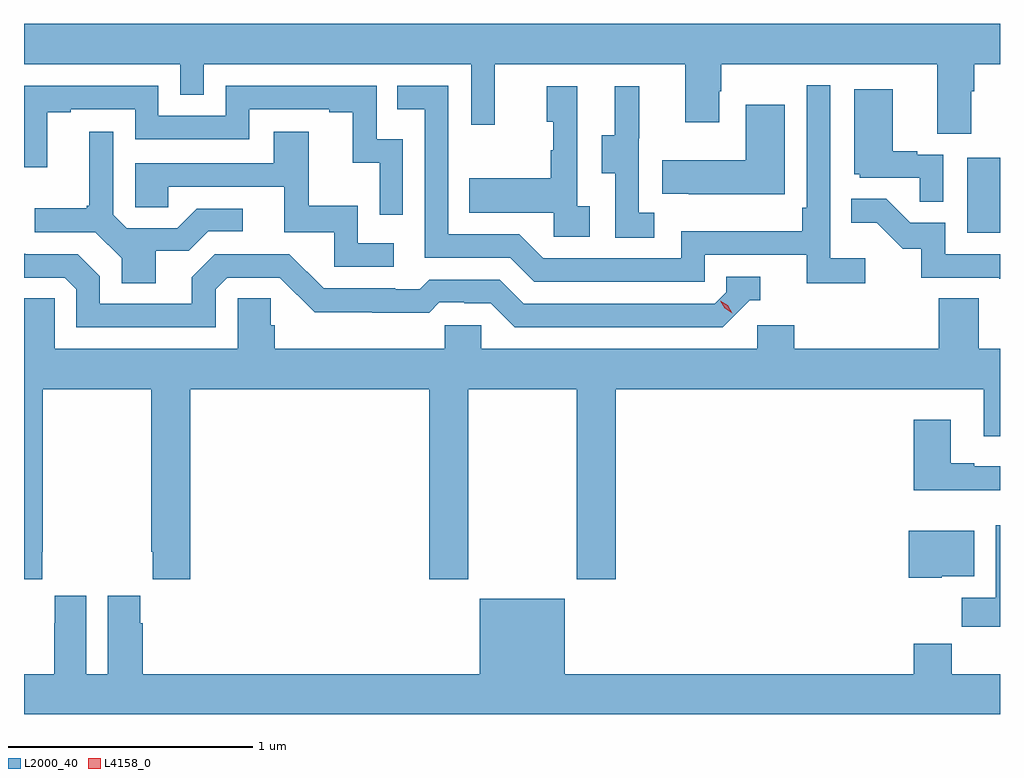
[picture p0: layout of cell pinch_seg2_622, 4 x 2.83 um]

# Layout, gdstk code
import gdstk
lib = gdstk.Library(unit=1e-6, precision=1e-09)
def R(c, l, rs):  # rectangles x0, y0, x1, y1
    for r in rs: c.add(gdstk.rectangle(r[:2], r[2:], *l))
def P(c, l, *ps):  # polygons
    for p in ps: c.add(gdstk.Polygon(p, *l))
L2000_40 = (2000, 40)
L4158_0 = (4158, 0)

pinch_seg2_622 = lib.new_cell('pinch_seg2_622')
R(pinch_seg2_622, L2000_40, [(1035.38,602.988,1035.515,603.295)])
P(pinch_seg2_622, L2000_40, [(1031.515,603.68),(1032.156,603.68),(1032.156,603.553),(1032.252,603.553),(1032.252,603.68),(1033.347,603.68),(1033.347,603.432),(1033.445,603.432),(1033.445,603.68),(1034.225,603.68),(1034.225,603.441),(1034.365,603.441),(1034.365,603.569),(1034.373,603.569),(1034.373,603.68),(1035.257,603.68),(1035.257,603.394),(1035.397,603.394),(1035.397,603.568),(1035.41,603.568),(1035.41,603.68),(1035.515,603.68),(1035.515,603.844),(1031.515,603.844)],
  [(1034.962,602.884),(1034.82,602.884),(1034.82,603.592),(1034.724,603.592),(1034.724,603.091),(1034.704,603.091),(1034.704,602.995),(1034.208,602.995),(1034.208,602.883),(1033.644,602.883),(1033.545,602.982),(1033.254,602.982),(1033.254,603.591),(1033.045,603.591),(1033.045,603.495),(1033.158,603.495),(1033.158,602.886),(1033.508,602.886),(1033.607,602.787),(1034.304,602.787),(1034.304,602.898),(1034.723,602.898),(1034.723,602.782),(1034.962,602.782)],
  [(1033.068,603.372),(1032.96,603.372),(1032.96,603.591),(1032.342,603.591),(1032.342,603.468),(1032.066,603.468),(1032.066,603.591),(1031.515,603.591),(1031.515,603.257),(1031.611,603.257),(1031.611,603.483),(1031.707,603.483),(1031.707,603.495),(1031.97,603.495),(1031.97,603.372),(1032.438,603.372),(1032.438,603.495),(1032.767,603.495),(1032.767,603.483),(1032.863,603.483),(1032.863,603.275),(1032.972,603.275),(1032.972,603.063),(1033.068,603.063)],
  [(1034.098,603.071),(1034.034,603.071),(1034.034,603.375),(1034.036,603.375),(1034.036,603.589),(1033.937,603.589),(1033.937,603.387),(1033.883,603.387),(1033.883,603.232),(1033.938,603.232),(1033.938,602.968),(1034.098,602.968)],
  [(1033.834,603.098),(1033.782,603.098),(1033.782,603.589),(1033.658,603.589),(1033.658,603.444),(1033.684,603.444),(1033.684,603.326),(1033.674,603.326),(1033.674,603.211),(1033.339,603.211),(1033.339,603.071),(1033.686,603.071),(1033.686,602.973),(1033.834,602.973)],
  [(1035.282,603.309),(1035.176,603.309),(1035.176,603.322),(1035.076,603.322),(1035.076,603.577),(1034.918,603.577),(1034.918,603.228),(1034.94,603.228),(1034.94,603.213),(1035.187,603.213),(1035.187,603.115),(1035.282,603.115)],
  [(1034.632,603.514),(1034.474,603.514),(1034.474,603.286),(1034.131,603.286),(1034.131,603.149),(1034.239,603.149),(1034.239,603.146),(1034.632,603.146)],
  [(1032.055,602.914),(1032.19,602.914),(1032.27,602.994),(1032.412,602.994),(1032.412,603.087),(1032.224,603.087),(1032.143,603.006),(1031.937,603.006),(1031.88,603.063),(1031.88,603.403),(1031.783,603.403),(1031.783,603.1),(1031.772,603.1),(1031.772,603.088),(1031.559,603.088),(1031.559,602.991),(1031.808,602.991),(1031.915,602.884),(1031.915,602.782),(1032.055,602.782)],
  [(1033.03,602.946),(1032.882,602.946),(1032.882,603.1),(1032.683,603.1),(1032.683,603.403),(1032.539,603.403),(1032.539,603.273),(1031.97,603.273),(1031.97,603.093),(1032.107,603.093),(1032.107,603.177),(1032.581,603.177),(1032.581,602.991),(1032.786,602.991),(1032.786,602.85),(1033.03,602.85)],
  [(1035.515,602.901),(1035.291,602.901),(1035.291,603.03),(1035.147,603.03),(1035.049,603.128),(1034.905,603.128),(1034.905,603.029),(1035.009,603.029),(1035.116,602.922),(1035.193,602.922),(1035.193,602.805),(1035.511,602.805),(1035.511,602.8),(1035.515,602.8)],
  [(1032.3,602.757),(1032.348,602.805),(1032.564,602.805),(1032.706,602.663),(1032.942,602.663),(1032.942,602.661),(1033.175,602.661),(1033.217,602.703),(1033.32,602.703),(1033.32,602.7),(1033.427,602.7),(1033.526,602.601),(1034.379,602.601),(1034.49,602.712),(1034.533,602.712),(1034.533,602.808),(1034.394,602.808),(1034.394,602.745),(1034.346,602.697),(1033.563,602.697),(1033.464,602.796),(1033.175,602.796),(1033.136,602.757),(1033.037,602.757),(1033.037,602.76),(1032.744,602.76),(1032.603,602.901),(1032.297,602.901),(1032.203,602.807),(1032.203,602.697),(1031.826,602.697),(1031.826,602.811),(1031.736,602.901),(1031.52,602.901),(1031.52,602.903),(1031.515,602.903),(1031.515,602.805),(1031.682,602.805),(1031.73,602.757),(1031.73,602.601),(1032.3,602.601)],
  [(1031.589,601.681),(1031.592,601.681),(1031.592,602.348),(1032.037,602.348),(1032.037,601.681),(1032.043,601.681),(1032.043,601.569),(1032.197,601.569),(1032.197,602.348),(1033.175,602.348),(1033.175,601.569),(1033.335,601.569),(1033.335,602.348),(1033.78,602.348),(1033.78,601.569),(1033.94,601.569),(1033.94,602.348),(1035.449,602.348),(1035.449,602.154),(1035.515,602.154),(1035.515,602.512),(1035.428,602.512),(1035.428,602.72),(1035.263,602.72),(1035.263,602.512),(1034.672,602.512),(1034.672,602.61),(1034.52,602.61),(1034.52,602.512),(1033.389,602.512),(1033.389,602.61),(1033.239,602.61),(1033.239,602.512),(1032.542,602.512),(1032.542,602.61),(1032.527,602.61),(1032.527,602.72),(1032.39,602.72),(1032.39,602.512),(1031.64,602.512),(1031.64,602.72),(1031.515,602.72),(1031.515,601.569),(1031.589,601.569)],
  [(1035.515,602.031),(1035.409,602.031),(1035.409,602.044),(1035.313,602.044),(1035.313,602.221),(1035.161,602.221),(1035.161,601.934),(1035.515,601.934)],
  [(1035.515,601.789),(1035.497,601.789),(1035.497,601.492),(1035.358,601.492),(1035.358,601.374),(1035.515,601.374)],
  [(1035.276,601.58),(1035.409,601.58),(1035.409,601.768),(1035.14,601.768),(1035.14,601.574),(1035.276,601.574)],
  [(1035.515,601.18),(1035.317,601.18),(1035.317,601.304),(1035.161,601.304),(1035.161,601.18),(1033.732,601.18),(1033.732,601.489),(1033.382,601.489),(1033.382,601.18),(1032.002,601.18),(1032.002,601.388),(1031.992,601.388),(1031.992,601.501),(1031.858,601.501),(1031.858,601.18),(1031.77,601.18),(1031.77,601.501),(1031.64,601.501),(1031.64,601.388),(1031.639,601.388),(1031.639,601.18),(1031.515,601.18),(1031.515,601.016),(1035.515,601.016)])
P(pinch_seg2_622, L4158_0, [(1034.417,602.658),(1034.386,602.678),(1034.369,602.71),(1034.369,602.71),(1034.369,602.71),(1034.4,602.691),(1034.417,602.659),(1034.417,602.658)])

lib.write_gds('pinch_seg2_622.gds')
